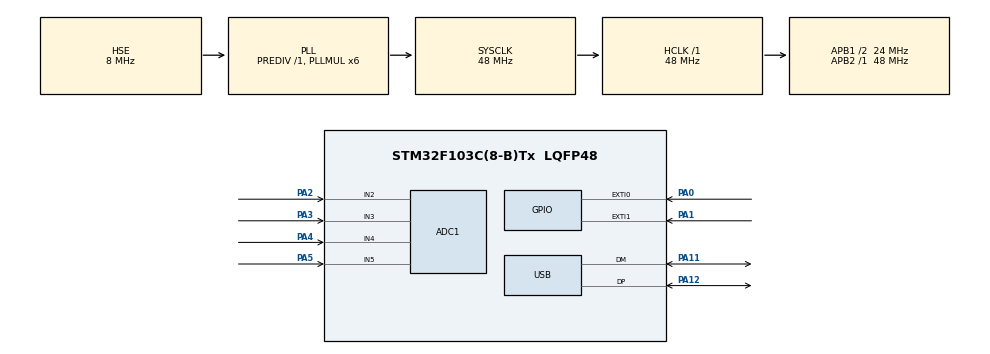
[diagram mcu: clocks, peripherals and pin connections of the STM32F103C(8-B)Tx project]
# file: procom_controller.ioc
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ADC1.Channel-0\#ChannelRegularConversion=ADC_CHANNEL_2
ADC1.Channel-1\#ChannelRegularConversion=ADC_CHANNEL_3
ADC1.Channel-2\#ChannelRegularConversion=ADC_CHANNEL_4
ADC1.Channel-3\#ChannelRegularConversion=ADC_CHANNEL_5
ADC1.ContinuousConvMode=ENABLE
ADC1.NbrOfConversion=4
ADC1.NbrOfConversionFlag=1
ADC1.Rank-0\#ChannelRegularConversion=1
ADC1.Rank-1\#ChannelRegularConversion=2
ADC1.Rank-2\#ChannelRegularConversion=3
ADC1.Rank-3\#ChannelRegularConversion=4
ADC1.SamplingTime-0\#ChannelRegularConversion=ADC_SAMPLETIME_13CYCLES_5
ADC1.SamplingTime-1\#ChannelRegularConversion=ADC_SAMPLETIME_13CYCLES_5
ADC1.SamplingTime-2\#ChannelRegularConversion=ADC_SAMPLETIME_13CYCLES_5
ADC1.SamplingTime-3\#ChannelRegularConversion=ADC_SAMPLETIME_13CYCLES_5
ADC1.master=1
Dma.ADC1.0.Direction=DMA_PERIPH_TO_MEMORY
Dma.ADC1.0.Instance=DMA1_Channel1
Dma.ADC1.0.MemDataAlignment=DMA_MDATAALIGN_WORD
Dma.ADC1.0.MemInc=DMA_MINC_ENABLE
Dma.ADC1.0.Mode=DMA_CIRCULAR
Dma.ADC1.0.PeriphDataAlignment=DMA_PDATAALIGN_WORD
Dma.ADC1.0.PeriphInc=DMA_PINC_DISABLE
Dma.ADC1.0.Priority=DMA_PRIORITY_LOW
Dma.Request0=ADC1
Mcu.Family=STM32F1
Mcu.Name=STM32F103C(8-B)Tx
Mcu.Package=LQFP48
NVIC.DMA1_Channel1_IRQn=true\:0\:0\:false\:false\:true\:false\:true
NVIC.EXTI0_IRQn=true\:0\:0\:false\:false\:true\:true\:true
NVIC.EXTI1_IRQn=true\:0\:0\:false\:false\:true\:true\:true
NVIC.PriorityGroup=NVIC_PRIORITYGROUP_4
NVIC.USB_LP_CAN1_RX0_IRQn=true\:1\:0\:true\:false\:true\:false\:true
PA0-WKUP.GPIO_ModeDefaultEXTI=GPIO_MODE_IT_RISING_FALLING
PA0-WKUP.GPIO_PuPd=GPIO_PULLUP
PA0-WKUP.Signal=GPXTI0
PA1.GPIO_ModeDefaultEXTI=GPIO_MODE_IT_RISING_FALLING
PA1.GPIO_PuPd=GPIO_PULLUP
PA1.Signal=GPXTI1
PA11.Mode=Device
PA11.Signal=USB_DM
PA12.Mode=Device
PA12.Signal=USB_DP
PA2.Signal=ADCx_IN2
PA3.Signal=ADCx_IN3
PA4.Signal=ADCx_IN4
PA5.Signal=ADCx_IN5
PD0-OSC_IN.Mode=HSE-External-Oscillator
PD0-OSC_IN.Signal=RCC_OSC_IN
PD1-OSC_OUT.Mode=HSE-External-Oscillator
PD1-OSC_OUT.Signal=RCC_OSC_OUT
ProjectManager.HeapSize=0x200
ProjectManager.StackSize=0x400
ProjectManager.TargetToolchain=SW4STM32
RCC.ADCPresc=RCC_ADCPCLK2_DIV4
RCC.AHBFreq_Value=48000000
RCC.APB1CLKDivider=RCC_HCLK_DIV2
RCC.APB1Freq_Value=24000000
RCC.APB1TimFreq_Value=48000000
RCC.APB2Freq_Value=48000000
RCC.APB2TimFreq_Value=48000000
RCC.HCLKFreq_Value=48000000
RCC.PLLMUL=RCC_PLL_MUL6
RCC.SYSCLKFreq_VALUE=48000000
RCC.SYSCLKSource=RCC_SYSCLKSOURCE_PLLCLK
RCC.USBFreq_Value=48000000
SH.ADCx_IN2.0=ADC1_IN2,IN2
SH.ADCx_IN3.0=ADC1_IN3,IN3
SH.ADCx_IN4.0=ADC1_IN4,IN4
SH.ADCx_IN5.0=ADC1_IN5,IN5
USB_DEVICE.CLASS_NAME_FS=CUSTOM_HID
USB_DEVICE.PID_CUSTOMHID_FS=0x5750
USB_DEVICE.USBD_CUSTOMHID_OUTREPORT_BUF_SIZE=4
USB_DEVICE.USBD_CUSTOM_HID_REPORT_DESC_SIZE=47
USB_DEVICE.VID=0x483
USB_DEVICE.VirtualMode=CustomHid
USB_DEVICE.VirtualModeFS=Custom_Hid_FS
VP_SYS_VS_ND.Mode=No_Debug
VP_USB_DEVICE_VS_USB_DEVICE_CUSTOM_HID_FS.Mode=CUSTOM_HID_FS
board=custom

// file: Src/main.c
/* USER CODE BEGIN Header */
/**
  ******************************************************************************
  * @file           : main.c
  * @brief          : Main program body
  ******************************************************************************
  * @attention
  *
  * <h2><center>&copy; Copyright (c) 2019 STMicroelectronics.
  * All rights reserved.</center></h2>
  *
  * This software component is licensed by ST under Ultimate Liberty license
  * SLA0044, the "License"; You may not use this file except in compliance with
  * the License. You may obtain a copy of the License at:
  *                             www.st.com/SLA0044
  *
  ******************************************************************************
  */
/* USER CODE END Header */

#include "main.h"
#include "usb_device.h"

/* USER CODE BEGIN Includes */
#include "usbd_customhid.h"
/* USER CODE END Includes */

/* USER CODE BEGIN PD */

enum shift_mode{
	DRIVE,
	REVERSE,
	NEUTRAL,
	BOOST,
	FLOAT
};

/* USER CODE END PD */

ADC_HandleTypeDef hadc1;
DMA_HandleTypeDef hdma_adc1;

/* USER CODE BEGIN PV */
extern USBD_HandleTypeDef hUsbDeviceFS;

volatile uint32_t adc_data[4] = {0};

volatile uint8_t counter = 0;

uint8_t prev_shift = FLOAT;
/* USER CODE END PV */

void SystemClock_Config(void);
static void MX_GPIO_Init(void);
static void MX_DMA_Init(void);
static void MX_ADC1_Init(void);
/* USER CODE BEGIN PFP */
void __ENABLE_ENC_IRQ(void);
void __DISABLE_ENC_IRQ(void);

/* USER CODE END PFP */

/* USER CODE BEGIN 0 */
uint8_t parse_shift(){
	uint8_t mode = (10 * ((adc_data[2]*10) / 8192)) + ((adc_data[3] * 10)/ 8192);
	switch(mode){
//	case 24: //boost
//		return BOOST;
//	case 40:
	case 20:
	case 21:
		return REVERSE;
//	case 42:
//		return NEUTRAL;
	case 23:
	case 24:
		return DRIVE;
	default:
		return FLOAT;
	}
}

uint8_t shift;
uint8_t shift_repo;
void send_reports(){
	shift= parse_shift();
	if(shift == prev_shift)
		shift_repo = 0;
	else
		shift_repo = 1 << shift;
	uint8_t report[4] = {shift_repo,counter,adc_data[0] >> 4,adc_data[1] >> 4};
	__DISABLE_ENC_IRQ();
	USBD_CUSTOM_HID_SendReport(&hUsbDeviceFS,report,4);
	__ENABLE_ENC_IRQ();
	HAL_Delay(1);
}

/* USER CODE END 0 */

int main(void)
{

  /* MCU Configuration--------------------------------------------------------*/

  /* Reset of all peripherals, Initializes the Flash interface and the Systick. */
  HAL_Init();

  /* Configure the system clock */
  SystemClock_Config();

  /* Initialize all configured peripherals */
  MX_GPIO_Init();
  MX_USB_DEVICE_Init();
  MX_DMA_Init();
  MX_ADC1_Init();
  /* USER CODE BEGIN 2 */
  HAL_ADC_Start_DMA(&hadc1,adc_data,4);
  /* USER CODE END 2 */

  /* Infinite loop */
  /* USER CODE BEGIN WHILE */
  while (1)
  {
	  send_reports();
    /* USER CODE END WHILE */

  }
}

void SystemClock_Config(void)
{
  RCC_OscInitTypeDef RCC_OscInitStruct = {0};
  RCC_ClkInitTypeDef RCC_ClkInitStruct = {0};
  RCC_PeriphCLKInitTypeDef PeriphClkInit = {0};

  /** Initializes the CPU, AHB and APB busses clocks
  */
  RCC_OscInitStruct.OscillatorType = RCC_OSCILLATORTYPE_HSE;
  RCC_OscInitStruct.HSEState = RCC_HSE_ON;
  RCC_OscInitStruct.HSEPredivValue = RCC_HSE_PREDIV_DIV1;
  RCC_OscInitStruct.HSIState = RCC_HSI_ON;
  RCC_OscInitStruct.PLL.PLLState = RCC_PLL_ON;
  RCC_OscInitStruct.PLL.PLLSource = RCC_PLLSOURCE_HSE;
  RCC_OscInitStruct.PLL.PLLMUL = RCC_PLL_MUL6;
  if (HAL_RCC_OscConfig(&RCC_OscInitStruct) != HAL_OK)
  {
    Error_Handler();
  }
  /** Initializes the CPU, AHB and APB busses clocks
  */
  RCC_ClkInitStruct.ClockType = RCC_CLOCKTYPE_HCLK|RCC_CLOCKTYPE_SYSCLK
                              |RCC_CLOCKTYPE_PCLK1|RCC_CLOCKTYPE_PCLK2;
  RCC_ClkInitStruct.SYSCLKSource = RCC_SYSCLKSOURCE_PLLCLK;
  RCC_ClkInitStruct.AHBCLKDivider = RCC_SYSCLK_DIV1;
  RCC_ClkInitStruct.APB1CLKDivider = RCC_HCLK_DIV2;
  RCC_ClkInitStruct.APB2CLKDivider = RCC_HCLK_DIV1;

  if (HAL_RCC_ClockConfig(&RCC_ClkInitStruct, FLASH_LATENCY_1) != HAL_OK)
  {
    Error_Handler();
  }
  PeriphClkInit.PeriphClockSelection = RCC_PERIPHCLK_ADC|RCC_PERIPHCLK_USB;
  PeriphClkInit.AdcClockSelection = RCC_ADCPCLK2_DIV4;
  PeriphClkInit.UsbClockSelection = RCC_USBCLKSOURCE_PLL;
  if (HAL_RCCEx_PeriphCLKConfig(&PeriphClkInit) != HAL_OK)
  {
    Error_Handler();
  }
}

static void MX_ADC1_Init(void)
{

  ADC_ChannelConfTypeDef sConfig = {0};

  /** Common config
  */
  hadc1.Instance = ADC1;
  hadc1.Init.ScanConvMode = ADC_SCAN_ENABLE;
  hadc1.Init.ContinuousConvMode = ENABLE;
  hadc1.Init.DiscontinuousConvMode = DISABLE;
  hadc1.Init.ExternalTrigConv = ADC_SOFTWARE_START;
  hadc1.Init.DataAlign = ADC_DATAALIGN_RIGHT;
  hadc1.Init.NbrOfConversion = 4;
  if (HAL_ADC_Init(&hadc1) != HAL_OK)
  {
    Error_Handler();
  }
  /** Configure Regular Channel
  */
  sConfig.Channel = ADC_CHANNEL_2;
  sConfig.Rank = ADC_REGULAR_RANK_1;
  sConfig.SamplingTime = ADC_SAMPLETIME_13CYCLES_5;
  if (HAL_ADC_ConfigChannel(&hadc1, &sConfig) != HAL_OK)
  {
    Error_Handler();
  }
  /** Configure Regular Channel
  */
  sConfig.Channel = ADC_CHANNEL_3;
  sConfig.Rank = ADC_REGULAR_RANK_2;
  if (HAL_ADC_ConfigChannel(&hadc1, &sConfig) != HAL_OK)
  {
    Error_Handler();
  }
  /** Configure Regular Channel
  */
  sConfig.Channel = ADC_CHANNEL_4;
  sConfig.Rank = ADC_REGULAR_RANK_3;
  if (HAL_ADC_ConfigChannel(&hadc1, &sConfig) != HAL_OK)
  {
    Error_Handler();
  }
  /** Configure Regular Channel
  */
  sConfig.Channel = ADC_CHANNEL_5;
  sConfig.Rank = ADC_REGULAR_RANK_4;
  if (HAL_ADC_ConfigChannel(&hadc1, &sConfig) != HAL_OK)
  {
    Error_Handler();
  }

}

static void MX_DMA_Init(void)
{

  /* DMA controller clock enable */
  __HAL_RCC_DMA1_CLK_ENABLE();

  /* DMA interrupt init */
  /* DMA1_Channel1_IRQn interrupt configuration */
  HAL_NVIC_SetPriority(DMA1_Channel1_IRQn, 0, 0);
  HAL_NVIC_EnableIRQ(DMA1_Channel1_IRQn);

}

static void MX_GPIO_Init(void)
{
  GPIO_InitTypeDef GPIO_InitStruct = {0};

  /* GPIO Ports Clock Enable */
  __HAL_RCC_GPIOD_CLK_ENABLE();
  __HAL_RCC_GPIOA_CLK_ENABLE();

  /*Configure GPIO pins : PA0 PA1 */
  GPIO_InitStruct.Pin = GPIO_PIN_0|GPIO_PIN_1;
  GPIO_InitStruct.Mode = GPIO_MODE_IT_RISING_FALLING;
  GPIO_InitStruct.Pull = GPIO_PULLUP;
  HAL_GPIO_Init(GPIOA, &GPIO_InitStruct);

  /* EXTI interrupt init*/
  HAL_NVIC_SetPriority(EXTI0_IRQn, 0, 0);
  HAL_NVIC_EnableIRQ(EXTI0_IRQn);

  HAL_NVIC_SetPriority(EXTI1_IRQn, 0, 0);
  HAL_NVIC_EnableIRQ(EXTI1_IRQn);

}

/* USER CODE BEGIN 4 */

void __ENABLE_ENC_IRQ(){
	  HAL_NVIC_EnableIRQ(EXTI0_IRQn);
	  HAL_NVIC_EnableIRQ(EXTI1_IRQn);
}

void __DISABLE_ENC_IRQ(){
	 HAL_NVIC_DisableIRQ(EXTI0_IRQn);
	 HAL_NVIC_DisableIRQ(EXTI1_IRQn);
}

volatile uint8_t prev_status = 0;
volatile uint8_t status = 0;
volatile uint8_t direction = 0;
void HAL_GPIO_EXTI_Callback(uint16_t GPIO_Pin) {
	status = GPIOA->IDR & 0b00000011;
	if(prev_status == status)
		return;

	if(prev_status == 0 && status == 1){
		direction = 0;
		goto end;
	}
	if(prev_status == 0 && status == 2){
		direction = 1;
		goto end;
	}

	if(status == 0){
		if(direction == 0){
			if(counter + 8 <= 255)
				counter += 8;
		}else{
			if(counter - 8 >= 0)
				counter -= 8;
		}
	}

	end:
	prev_status = status;
}

/* USER CODE END 4 */

void Error_Handler(void)
{
}

/************************ (C) COPYRIGHT STMicroelectronics *****END OF FILE****/
